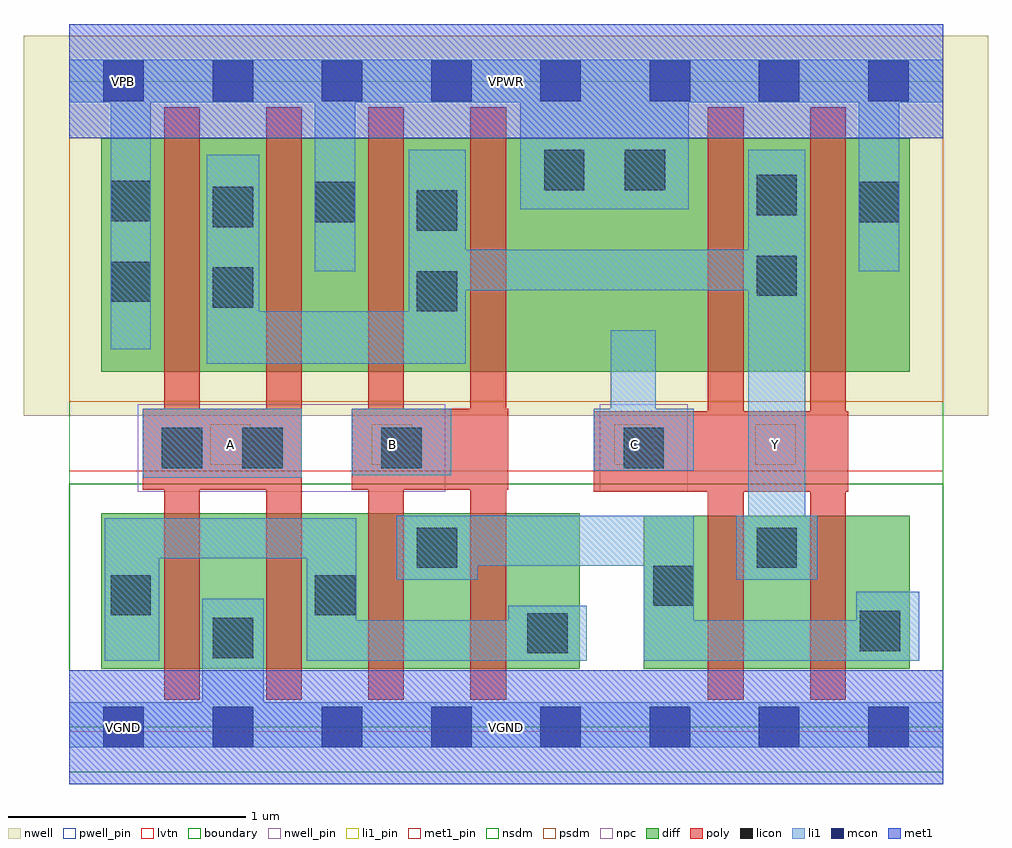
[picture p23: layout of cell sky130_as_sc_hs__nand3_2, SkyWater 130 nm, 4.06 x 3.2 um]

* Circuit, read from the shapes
.subckt sky130_as_sc_hs__nand3_2 A B C VGND VNB VPB VPWR Y
XM1 VGND A n1 VNB sky130_fd_pr__nfet_01v8_lvt w=0.655 l=0.15 m=2
XM2 n2 B n1 VNB sky130_fd_pr__nfet_01v8_lvt w=0.655 l=0.15 m=2
XM3 Y C n2 VNB sky130_fd_pr__nfet_01v8_lvt w=0.645 l=0.15 m=2
XM4 Y A VPWR VPB sky130_fd_pr__pfet_01v8 w=0.985 l=0.15 m=2
XM5 Y B VPWR VPB sky130_fd_pr__pfet_01v8 w=0.985 l=0.15 m=2
XM6 Y C VPWR VPB sky130_fd_pr__pfet_01v8 w=0.985 l=0.15 m=2
.ends

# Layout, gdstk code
import gdstk
lib = gdstk.Library(unit=1e-6, precision=1e-09)
def R(c, l, rs):  # rectangles x0, y0, x1, y1
    for r in rs: c.add(gdstk.rectangle(r[:2], r[2:], *l))
def A(c, l, x, y, w, h, nx, ny, dx, dy):  # array of equal rectangles
    R(c, l, [(x+i*dx, y+j*dy, x+i*dx+w, y+j*dy+h) for i in range(nx) for j in range(ny)])
nwell_pin = (64, 16)
nwell = (64, 20)
diff = (65, 20)
poly = (66, 20)
licon = (66, 44)
li1_pin = (67, 16)
li1 = (67, 20)
mcon = (67, 44)
met1_pin = (68, 16)
met1 = (68, 20)
nsdm = (93, 44)
psdm = (94, 20)
npc = (95, 20)
pwell_pin = (122, 16)
lvtn = (125, 44)
boundary = (235, 4)

sky130_as_sc_hs__nand3_2 = lib.new_cell('sky130_as_sc_hs__nand3_2')
R(sky130_as_sc_hs__nand3_2, nwell_pin, [(0.145,2.635,0.315,2.805)])
R(sky130_as_sc_hs__nand3_2, nwell, [(-0.19,1.31,3.87,2.91)])
R(sky130_as_sc_hs__nand3_2, diff, [(0.135,0.245,2.15,0.9), (2.42,0.245,3.54,0.89), (0.135,1.495,3.54,2.48)])
A(sky130_as_sc_hs__nand3_2, poly, 0.4, 0.115, 0.15, 0.885, 4, 1, 0.43, 0)
A(sky130_as_sc_hs__nand3_2, poly, 0.4, 1.34, 0.15, 1.27, 4, 1, 0.43, 0)
R(sky130_as_sc_hs__nand3_2, poly, [(2.69,0.115,2.84,0.99), (3.12,0.115,3.27,0.99), (2.21,0.99,3.28,1.33), (0.31,1,0.98,1.34), (1.19,1,1.85,1.34), (2.69,1.33,2.84,2.61), (3.12,1.33,3.27,2.61)])
R(sky130_as_sc_hs__nand3_2, licon, [(0.605,0.29,0.775,0.46), (1.93,0.31,2.1,0.48), (3.33,0.32,3.5,0.49), (0.175,0.47,0.345,0.64), (1.035,0.47,1.205,0.64), (2.46,0.51,2.63,0.68), (1.465,0.67,1.635,0.84), (2.895,0.67,3.065,0.84), (0.39,1.09,0.56,1.26), (0.73,1.09,0.9,1.26), (1.315,1.09,1.485,1.26), (2.335,1.09,2.505,1.26), (1.465,1.75,1.635,1.92), (0.605,1.765,0.775,1.935), (0.175,1.79,0.345,1.96), (2.895,1.815,3.065,1.985), (1.465,2.09,1.635,2.26), (0.605,2.105,0.775,2.275), (1.035,2.125,1.205,2.295), (3.325,2.125,3.495,2.295), (0.175,2.13,0.345,2.3), (2.895,2.155,3.065,2.325), (2,2.26,2.17,2.43), (2.34,2.26,2.51,2.43)])
R(sky130_as_sc_hs__nand3_2, li1_pin, [(0.595,1.105,0.765,1.275), (1.275,1.105,1.445,1.275), (2.295,1.105,2.465,1.275), (2.89,1.105,3.06,1.275)])
R(sky130_as_sc_hs__nand3_2, li1, [(0,-0.085,3.68,0.105), (0.56,0.105,0.82,0.54), (0.15,0.28,0.38,0.71), (1,0.28,2.18,0.45), (2.42,0.28,3.58,0.45), (1,0.45,1.21,0.71), (1.85,0.45,2.18,0.51), (2.42,0.45,2.63,0.68), (3.315,0.45,3.58,0.57), (1.38,0.62,1.72,0.68), (2.81,0.62,3.15,0.89), (1.38,0.68,2.63,0.89), (0.15,0.71,1.21,0.88), (2.86,0.89,3.1,1.84), (0.31,1.05,0.98,1.34), (1.19,1.06,1.61,1.34), (2.21,1.08,2.63,1.34), (2.28,1.34,2.47,1.67), (0.58,1.53,1.67,1.75), (0.175,1.59,0.345,2.63), (0.58,1.75,0.8,2.41), (1.43,1.75,1.67,1.84), (1.43,1.84,3.1,2.01), (1.035,1.92,1.205,2.63), (3.325,1.92,3.495,2.63), (1.43,2.01,1.67,2.43), (2.86,2.01,3.1,2.43), (1.9,2.18,2.61,2.63), (0,2.63,3.68,2.81)])
A(sky130_as_sc_hs__nand3_2, mcon, 0.145, -0.085, 0.17, 0.17, 8, 2, 0.46, 2.72)
R(sky130_as_sc_hs__nand3_2, met1_pin, [(0,-0.24,3.68,0.24), (0.145,-0.085,0.315,0.085), (0,2.48,3.68,2.96), (0.145,2.635,0.315,2.805)])
R(sky130_as_sc_hs__nand3_2, met1, [(0,-0.24,3.68,0.24), (0,2.48,3.68,2.96)])
R(sky130_as_sc_hs__nand3_2, nsdm, [(0,-0.19,3.68,1.025)])
R(sky130_as_sc_hs__nand3_2, psdm, [(0,1.37,3.68,2.91)])
R(sky130_as_sc_hs__nand3_2, npc, [(0.29,0.99,1.585,1.36), (2.235,0.99,2.605,1.36)])
R(sky130_as_sc_hs__nand3_2, pwell_pin, [(0.145,-0.085,0.315,0.085)])
R(sky130_as_sc_hs__nand3_2, lvtn, [(0,-0.02,3.68,1.08)])
R(sky130_as_sc_hs__nand3_2, boundary, [(0,0,3.68,2.72)])
sky130_as_sc_hs__nand3_2.add(gdstk.Label('VPB', (0.23,2.72), layer=64, texttype=5))
sky130_as_sc_hs__nand3_2.add(gdstk.Label('VPB', (0.23,2.72), layer=64, texttype=5))
sky130_as_sc_hs__nand3_2.add(gdstk.Label('VGND', (0.23,0), layer=68, texttype=5))
sky130_as_sc_hs__nand3_2.add(gdstk.Label('VGND', (1.84,0), layer=68, texttype=5))
sky130_as_sc_hs__nand3_2.add(gdstk.Label('VPWR', (0.23,2.72), layer=68, texttype=5))
sky130_as_sc_hs__nand3_2.add(gdstk.Label('VPWR', (1.84,2.72), layer=68, texttype=5))
sky130_as_sc_hs__nand3_2.add(gdstk.Label('VNB', (0.23,0), layer=64, texttype=59))
sky130_as_sc_hs__nand3_2.add(gdstk.Label('VNB', (0.23,0), layer=64, texttype=59))
sky130_as_sc_hs__nand3_2.add(gdstk.Label('C', (2.38,1.19), layer=67, texttype=5))
sky130_as_sc_hs__nand3_2.add(gdstk.Label('C', (2.38,1.19), layer=67, texttype=5))
sky130_as_sc_hs__nand3_2.add(gdstk.Label('Y', (2.975,1.19), layer=67, texttype=5))
sky130_as_sc_hs__nand3_2.add(gdstk.Label('Y', (2.975,1.19), layer=67, texttype=5))
sky130_as_sc_hs__nand3_2.add(gdstk.Label('B', (1.36,1.19), layer=67, texttype=5))
sky130_as_sc_hs__nand3_2.add(gdstk.Label('B', (1.36,1.19), layer=67, texttype=5))
sky130_as_sc_hs__nand3_2.add(gdstk.Label('A', (0.68,1.19), layer=67, texttype=5))
sky130_as_sc_hs__nand3_2.add(gdstk.Label('A', (0.68,1.19), layer=67, texttype=5))

lib.write_gds('sky130_as_sc_hs__nand3_2.gds')
